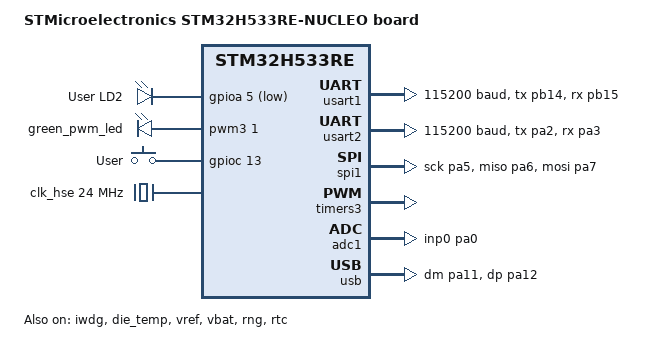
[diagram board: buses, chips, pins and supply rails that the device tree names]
/*
 * Copyright (c) 2024 STMicroelectronics
 *
 * SPDX-License-Identifier: Apache-2.0
 */

/dts-v1/;
#include <st/h5/stm32h533Xe.dtsi>
#include <st/h5/stm32h533retx-pinctrl.dtsi>
#include "arduino_r3_connector.dtsi"
#include "st_morpho_connector.dtsi"
#include <zephyr/dt-bindings/input/input-event-codes.h>

/ {
	model = "STMicroelectronics STM32H533RE-NUCLEO board";
	compatible = "st,stm32h533re-nucleo";

	chosen {
		zephyr,console = &usart2;
		zephyr,shell-uart = &usart2;
		zephyr,sram = &sram1;
		zephyr,flash = &flash0;
	};

	leds: leds {
		compatible = "gpio-leds";
		green_led_2: led_42 {
			gpios = <&gpioa 5 GPIO_ACTIVE_LOW>;
			label = "User LD2";
		};
	};


	pwmleds {
		compatible = "pwm-leds";

		green_pwm_led: green_pwm_led {
			pwms = <&pwm3 1 PWM_MSEC(20) PWM_POLARITY_NORMAL>;
		};
	};

	gpio_keys {
		compatible = "gpio-keys";
		user_button: button {
			label = "User";
			gpios = <&gpioc 13 GPIO_ACTIVE_HIGH>;
			zephyr,code = <INPUT_KEY_0>;
		};
	};

	aliases {
		led0 = &green_led_2;
		pwm-led0 = &green_pwm_led;
		sw0 = &user_button;
		watchdog0 = &iwdg;
		die-temp0 = &die_temp;
		volt-sensor0 = &vref;
		volt-sensor1 = &vbat;
	};
};

&clk_csi {
	status = "okay";
};

&clk_hsi {
	status = "okay";
};

&clk_hse {
	clock-frequency = <DT_FREQ_M(24)>;
	status = "okay";
};

&pll {
	div-m = <2>;
	mul-n = <40>;
	div-p = <2>;
	div-q = <2>;
	div-r = <2>;
	clocks = <&clk_hse>;
	status = "okay";
};

&rcc {
	clocks = <&pll>;
	clock-frequency = <DT_FREQ_M(240)>;
	ahb-prescaler = <1>;
	apb1-prescaler = <1>;
	apb2-prescaler = <1>;
	apb3-prescaler = <1>;
};

&usart1 {
	pinctrl-0 = <&usart1_tx_pb14 &usart1_rx_pb15>;
	pinctrl-names = "default";
	current-speed = <115200>;
	status = "okay";
};

&usart2 {
	pinctrl-0 = <&usart2_tx_pa2 &usart2_rx_pa3>;
	pinctrl-names = "default";
	current-speed = <115200>;
	status = "okay";
};

&spi1 {
	pinctrl-0 = <&spi1_sck_pa5 &spi1_miso_pa6 &spi1_mosi_pa7>;
	pinctrl-names = "default";
	cs-gpios = <&gpioc 9 GPIO_ACTIVE_LOW>;
	status = "okay";
};

&iwdg {
	status = "okay";
};

&timers3 {
	st,prescaler = <1000>;
	status = "okay";

	pwm3: pwm {
		pinctrl-0 = <&tim3_ch3_pb0>;
		pinctrl-names = "default";
		status = "okay";
	};
};

&adc1 {
	clocks = <&rcc STM32_CLOCK_BUS_AHB2 0x00000400>,
		 <&rcc STM32_SRC_HCLK ADCDAC_SEL(0)>;
	pinctrl-0 = <&adc1_inp0_pa0>; /* Arduino A0 */
	pinctrl-names = "default";
	st,adc-clock-source = <ASYNC>;
	st,adc-prescaler = <8>;
	status = "okay";
};

&die_temp {
	status = "okay";
};

&vref {
	status = "okay";
};

&vbat {
	status = "okay";
};

&rng {
	status = "okay";
};

&clk_lse {
	status = "okay";
};

&rtc {
	clocks = <&rcc STM32_CLOCK_BUS_APB3 0x00200000>,
		 <&rcc STM32_SRC_LSE RTC_SEL(1)>;
	status = "okay";
};

&clk_hsi48 {
	status = "okay";
};

zephyr_udc0: &usb {
	pinctrl-0 = <&usb_dm_pa11 &usb_dp_pa12>;
	pinctrl-names = "default";
	status = "okay";
};
